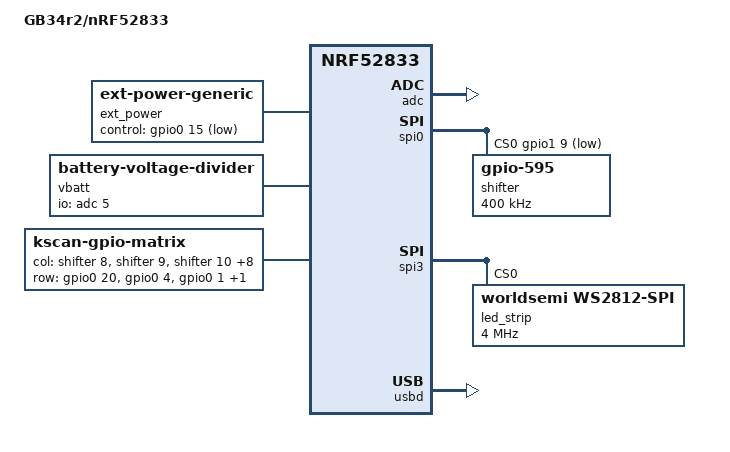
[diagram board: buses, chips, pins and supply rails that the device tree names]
/*
 * Copyright (c) 2025 The ZMK Contributors
 *
 * SPDX-License-Identifier: MIT
 */

/dts-v1/;

#include <nordic/nrf52833_qiaa.dtsi>

#include <physical_layouts.dtsi>
#include <dt-bindings/led/led.h>

#include "gb34r2_nrf52833-pinctrl.dtsi"
#include "gb34r2_nrf52833-transforms.dtsi"
#include "gb34r2_nrf52833-layouts.dtsi"

/ {
    model = "GB34r2/nRF52833";
    compatible = "gb34r2-nrf52833,niuniu";

    chosen {
        zephyr,code-partition = &code_partition;
        zephyr,sram = &sram0;
        zephyr,flash = &flash0;

        zmk,kscan = &kscan;
        zmk,physical-layout = &layout_ortho_all1u;
        zmk,battery = &vbatt;
        zmk,underglow = &led_strip;
    };

    ext_power {
        compatible = "zmk,ext-power-generic";
        control-gpios = <&gpio0 15 GPIO_ACTIVE_LOW>;
        init-delay-ms = <50>;
    };

    vbatt: vbatt {
        compatible = "zmk,battery-voltage-divider";
        io-channels = <&adc 5>;
        output-ohms = <2200000>;
        full-ohms = <(2200000 + 10000000)>;
    };

    kscan: kscan {
        compatible = "zmk,kscan-gpio-matrix";
        wakeup-source;
        diode-direction = "col2row";

        col-gpios
            = <&shifter  8 GPIO_ACTIVE_HIGH>
            , <&shifter  9 GPIO_ACTIVE_HIGH>
            , <&shifter 10 GPIO_ACTIVE_HIGH>
            , <&shifter 11 GPIO_ACTIVE_HIGH>
            , <&shifter 12 GPIO_ACTIVE_HIGH>
            , <&shifter 13 GPIO_ACTIVE_HIGH>
            , <&shifter 14 GPIO_ACTIVE_HIGH>
            , <&shifter 15 GPIO_ACTIVE_HIGH>
            , <&shifter  0 GPIO_ACTIVE_HIGH>
            , <&shifter  1 GPIO_ACTIVE_HIGH>
            , <&shifter  2 GPIO_ACTIVE_HIGH>
            ;

        row-gpios
            = <&gpio0 20 (GPIO_ACTIVE_HIGH | GPIO_PULL_DOWN)>
            , <&gpio0  4 (GPIO_ACTIVE_HIGH | GPIO_PULL_DOWN)>
            , <&gpio0  1 (GPIO_ACTIVE_HIGH | GPIO_PULL_DOWN)>
            , <&gpio0  0 (GPIO_ACTIVE_HIGH | GPIO_PULL_DOWN)>
            ;
    };

};

&adc {
    status = "okay";
};

&gpiote {
    status = "okay";
};

&gpio0 {
    status = "okay";
};

&gpio1 {
    status = "okay";
};

&spi0 {
    status = "okay";
    cs-gpios = <&gpio1 9 GPIO_ACTIVE_LOW>;
    pinctrl-0 = <&spi0_default>;
    pinctrl-1 = <&spi0_sleep>;
    pinctrl-names = "default", "sleep";
    shifter: 595@0 {
        compatible = "zmk,gpio-595";
        gpio-controller;
        spi-max-frequency = <400000>;
        reg = <0>;
        #gpio-cells = <2>;
        ngpios = <16>;
    };
};

&spi3 {
    status = "okay";
    pinctrl-0 = <&spi3_default>;
    pinctrl-1 = <&spi3_sleep>;
    pinctrl-names = "default", "sleep";

    led_strip: ws2812@0 {
        compatible = "worldsemi,ws2812-spi";

        /* SPI */
        reg = <0>; /* ignored, but necessary for SPI bindings */
        spi-max-frequency = <4000000>;

        /* WS2812 */
        chain-length = <2>; /* number of LEDs */
        spi-one-frame = <0x70>;
        spi-zero-frame = <0x40>;

        color-mapping = <LED_COLOR_ID_GREEN LED_COLOR_ID_RED LED_COLOR_ID_BLUE>;
    };
};

zephyr_udc0: &usbd {
    status = "okay";
};

&flash0 {
    /*
     * For more information, see:
     * http://docs.zephyrproject.org/latest/devices/dts/flash_partitions.html
     */
    partitions {
        compatible = "fixed-partitions";
        #address-cells = <1>;
        #size-cells = <1>;

        sd_partition: partition@0 {
            reg = <0x00000000 0x00027000>;
        };
        code_partition: partition@27000 {
            reg = <0x00027000 0x00045000>;
        };

        /*
         * The flash starting at 0x0006c000 and ending at
         * 0x00073fff is reserved for use by the application.
         */

        /*
         * Storage partition will be used by FCB/LittleFS/NVS
         * if enabled.
         */
        storage_partition: partition@6c000 {
            reg = <0x0006c000 0x00008000>;
        };

        boot_partition: partition@74000 {
            reg = <0x00074000 0x0000c000>;
        };
    };
};
